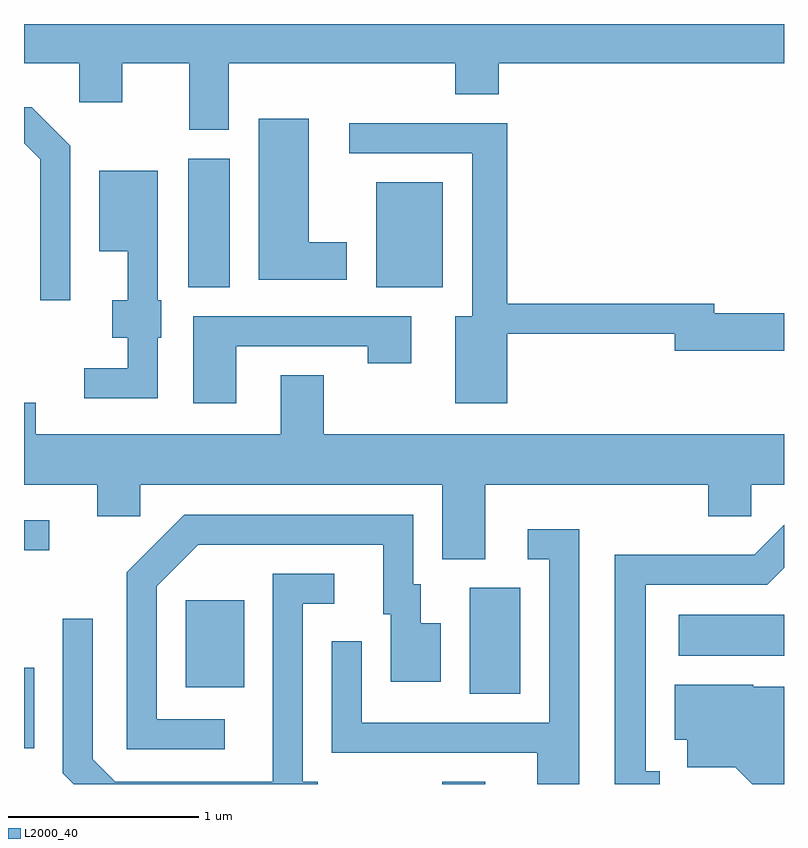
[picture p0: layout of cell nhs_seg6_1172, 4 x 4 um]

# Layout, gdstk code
import gdstk
lib = gdstk.Library(unit=1e-6, precision=1e-09)
def R(c, l, rs):  # rectangles x0, y0, x1, y1
    for r in rs: c.add(gdstk.rectangle(r[:2], r[2:], *l))
def P(c, l, *ps):  # polygons
    for p in ps: c.add(gdstk.Polygon(p, *l))
L2000_40 = (2000, 40)

nhs_seg6_1172 = lib.new_cell('nhs_seg6_1172')
R(nhs_seg6_1172, L2000_40, [(221.811,1626.162,222.039,1626.174), (219.611,1626.351,219.664,1626.774), (221.956,1626.636,222.224,1627.194), (220.461,1626.671,220.769,1627.129), (223.056,1626.836,223.611,1627.054), (219.611,1627.391,219.743,1627.549), (220.476,1628.776,220.694,1629.454), (221.466,1628.776,221.814,1629.329)])
P(nhs_seg6_1172, L2000_40, [(220.689,1629.956),(221.881,1629.956),(221.881,1629.791),(222.109,1629.791),(222.109,1629.956),(223.611,1629.956),(223.611,1630.162),(219.611,1630.162),(219.611,1629.956),(219.901,1629.956),(219.901,1629.751),(220.129,1629.751),(220.129,1629.956),(220.481,1629.956),(220.481,1629.606),(220.689,1629.606)],
  [(219.854,1629.522),(219.652,1629.724),(219.611,1629.724),(219.611,1629.534),(219.696,1629.449),(219.696,1628.708),(219.854,1628.708)],
  [(221.309,1629.014),(221.109,1629.014),(221.109,1629.664),(220.846,1629.664),(220.846,1628.816),(221.309,1628.816)],
  [(222.154,1628.531),(223.036,1628.531),(223.036,1628.441),(223.611,1628.441),(223.611,1628.639),(223.244,1628.639),(223.244,1628.689),(222.154,1628.689),(222.154,1629.639),(221.323,1629.639),(221.323,1629.481),(221.971,1629.481),(221.971,1628.624),(221.881,1628.624),(221.881,1628.166),(222.154,1628.166)],
  [(220.314,1628.511),(220.334,1628.511),(220.334,1628.709),(220.314,1628.709),(220.314,1629.389),(220.006,1629.389),(220.006,1628.966),(220.156,1628.966),(220.156,1628.709),(220.076,1628.709),(220.076,1628.511),(220.156,1628.511),(220.156,1628.349),(219.928,1628.349),(219.928,1628.191),(220.314,1628.191)],
  [(220.729,1628.466),(221.421,1628.466),(221.421,1628.376),(221.649,1628.376),(221.649,1628.624),(220.501,1628.624),(220.501,1628.166),(220.729,1628.166)],
  [(222.039,1627.736),(223.211,1627.736),(223.211,1627.571),(223.439,1627.571),(223.439,1627.736),(223.611,1627.736),(223.611,1628.004),(221.189,1628.004),(221.189,1628.314),(220.961,1628.314),(220.961,1628.004),(219.674,1628.004),(219.674,1628.169),(219.611,1628.169),(219.611,1627.736),(219.996,1627.736),(219.996,1627.571),(220.224,1627.571),(220.224,1627.736),(221.811,1627.736),(221.811,1627.346),(222.039,1627.346)],
  [(220.668,1626.504),(220.309,1626.504),(220.309,1627.204),(220.527,1627.421),(221.501,1627.421),(221.501,1627.056),(221.541,1627.056),(221.541,1626.701),(221.804,1626.701),(221.804,1627.009),(221.699,1627.009),(221.699,1627.214),(221.659,1627.214),(221.659,1627.579),(220.454,1627.579),(220.151,1627.277),(220.151,1626.346),(220.668,1626.346)],
  [(222.958,1626.229),(222.884,1626.229),(222.884,1627.211),(223.522,1627.211),(223.611,1627.3),(223.611,1627.526),(223.454,1627.369),(222.721,1627.369),(222.721,1626.162),(222.958,1626.162)],
  [(222.534,1627.504),(222.263,1627.504),(222.263,1627.346),(222.376,1627.346),(222.376,1626.484),(221.389,1626.484),(221.389,1626.913),(221.231,1626.913),(221.231,1626.326),(222.311,1626.326),(222.311,1626.162),(222.534,1626.162)],
  [(221.158,1626.174),(221.079,1626.174),(221.079,1627.111),(221.243,1627.111),(221.243,1627.269),(220.921,1627.269),(220.921,1626.174),(220.092,1626.174),(219.974,1626.292),(219.974,1627.033),(219.816,1627.033),(219.816,1626.219),(219.873,1626.162),(221.158,1626.162)],
  [(223.611,1626.674),(223.45,1626.674),(223.45,1626.684),(223.036,1626.684),(223.036,1626.396),(223.101,1626.396),(223.101,1626.251),(223.354,1626.251),(223.443,1626.162),(223.611,1626.162)])

lib.write_gds('nhs_seg6_1172.gds')
